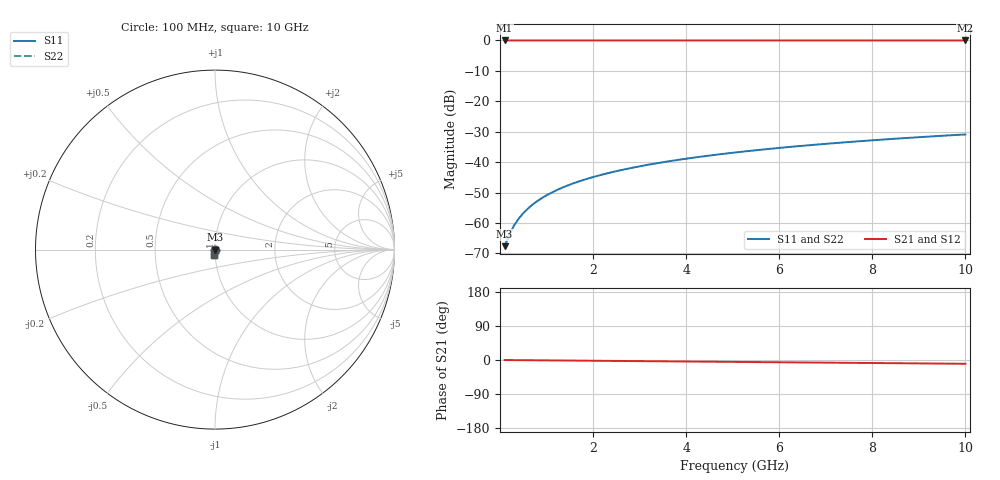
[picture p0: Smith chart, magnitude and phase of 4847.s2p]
# Hz S RI R 50.00
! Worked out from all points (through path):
!   100 points, 100 MHz to 10 GHz, reference 50 ohm
!   highest |S21| = 0.00 dB at 100 MHz (marker M1); lowest = 0.0 dB at 10 GHz (marker M2)
!   group delay of S21, straight-line fit = 2.77 ps
!   lowest |S11| = -67.6 dB at 100 MHz (marker M3), VSWR 1.00, Z = 50 - j0.0284 ohm
!   |S11| at or under -10 dB: start of sweep to end of sweep
!   |S22| runs from -67.6 to -30.9 dB; largest |S21 - S12| = 0
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1e8  0.000305 -0.000284  0.9997 -0.00172  0.9997 -0.00172  0.000305 -0.000284
2e8  0.000305 -0.000568  0.9997 -0.00344  0.9997 -0.00344  0.000305 -0.000568
3e8  0.000303 -0.000851  0.9997 -0.00517  0.9997 -0.00517  0.000303 -0.000851
4e8  0.0003 -0.00114  0.9997 -0.00689  0.9997 -0.00689  0.0003 -0.00114
5e8  0.000295 -0.00142  0.9996 -0.00861  0.9996 -0.00861  0.000295 -0.00142
6e8  0.00029 -0.0017  0.9996 -0.0103  0.9996 -0.0103  0.00029 -0.0017
7e8  0.000283 -0.00199  0.9996 -0.0121  0.9996 -0.0121  0.000283 -0.00199
9e8  0.000267 -0.00256  0.9996 -0.0155  0.9996 -0.0155  0.000267 -0.00256
1e9  0.000258 -0.00284  0.9995 -0.0172  0.9995 -0.0172  0.000258 -0.00284
1.2e9  0.000236 -0.00341  0.9995 -0.0207  0.9995 -0.0207  0.000236 -0.00341
1.5e9  0.000195 -0.00426  0.9993 -0.0258  0.9993 -0.0258  0.000195 -0.00426
1.8e9  0.000145 -0.00512  0.9992 -0.031  0.9992 -0.031  0.000145 -0.00512
2.1e9  8.65e-05 -0.00597  0.999 -0.0362  0.999 -0.0362  8.65e-05 -0.00597
2.5e9  -5.8e-06 -0.00711  0.9987 -0.0431  0.9987 -0.0431  -5.8e-06 -0.00711
2.9e9  -0.000114 -0.00825  0.9984 -0.05  0.9984 -0.05  -0.000114 -0.00825
3.4e9  -0.000272 -0.00968  0.9979 -0.0586  0.9979 -0.0586  -0.000272 -0.00968
4.2e9  -0.000577 -0.012  0.9969 -0.0725  0.9969 -0.0725  -0.000577 -0.012
5.1e9  -0.000996 -0.0145  0.9956 -0.088  0.9956 -0.088  -0.000996 -0.0145
5.9e9  -0.00144 -0.0168  0.9943 -0.1019  0.9943 -0.1019  -0.00144 -0.0168
6.7e9  -0.00194 -0.019  0.9927 -0.1157  0.9927 -0.1157  -0.00194 -0.019
8.4e9  -0.00322 -0.0238  0.9887 -0.1452  0.9887 -0.1452  -0.00322 -0.0238
1e10  -0.00469 -0.0282  0.9841 -0.1729  0.9841 -0.1729  -0.00469 -0.0282
